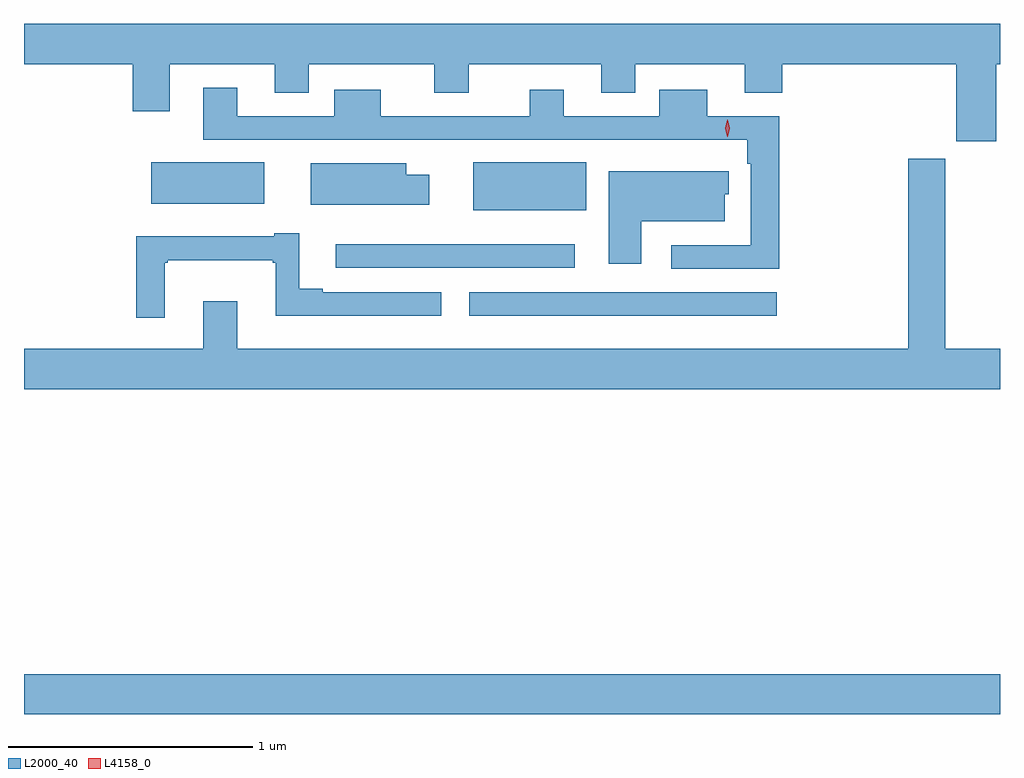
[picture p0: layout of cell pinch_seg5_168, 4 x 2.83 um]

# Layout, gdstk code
import gdstk
lib = gdstk.Library(unit=1e-6, precision=1e-09)
def R(c, l, rs):  # rectangles x0, y0, x1, y1
    for r in rs: c.add(gdstk.rectangle(r[:2], r[2:], *l))
def P(c, l, *ps):  # polygons
    for p in ps: c.add(gdstk.Polygon(p, *l))
L2000_40 = (2000, 40)
L4158_0 = (4158, 0)

pinch_seg5_168 = lib.new_cell('pinch_seg5_168')
R(pinch_seg5_168, L2000_40, [(1124.889,880.736,1128.889,880.9), (1126.713,882.368,1127.974,882.465), (1126.167,882.564,1127.146,882.661), (1126.73,882.8,1127.194,882.997), (1125.41,882.827,1125.874,882.997)])
P(pinch_seg5_168, L2000_40, [(1128.874,883.4),(1128.889,883.4),(1128.889,883.564),(1124.889,883.564),(1124.889,883.4),(1125.335,883.4),(1125.335,883.206),(1125.487,883.206),(1125.487,883.4),(1125.917,883.4),(1125.917,883.283),(1126.057,883.283),(1126.057,883.4),(1126.571,883.4),(1126.571,883.283),(1126.711,883.283),(1126.711,883.4),(1127.255,883.4),(1127.255,883.283),(1127.395,883.283),(1127.395,883.4),(1127.843,883.4),(1127.843,883.283),(1127.996,883.283),(1127.996,883.4),(1128.71,883.4),(1128.71,883.083),(1128.874,883.083)],
  [(1127.984,883.185),(1127.689,883.185),(1127.689,883.294),(1127.492,883.294),(1127.492,883.185),(1127.101,883.185),(1127.101,883.294),(1126.961,883.294),(1126.961,883.185),(1126.351,883.185),(1126.351,883.294),(1126.16,883.294),(1126.16,883.185),(1125.763,883.185),(1125.763,883.303),(1125.623,883.303),(1125.623,883.089),(1127.853,883.089),(1127.853,882.992),(1127.868,882.992),(1127.868,882.657),(1127.541,882.657),(1127.541,882.561),(1127.984,882.561)],
  [(1128.889,882.232),(1128.664,882.232),(1128.664,883.011),(1128.512,883.011),(1128.512,882.232),(1125.763,882.232),(1125.763,882.427),(1125.623,882.427),(1125.623,882.232),(1124.889,882.232),(1124.889,882.068),(1128.889,882.068)],
  [(1126.549,882.946),(1126.456,882.946),(1126.456,882.994),(1126.064,882.994),(1126.064,882.824),(1126.549,882.824)],
  [(1127.419,882.755),(1127.761,882.755),(1127.761,882.867),(1127.778,882.867),(1127.778,882.96),(1127.675,882.96),(1127.675,882.961),(1127.285,882.961),(1127.285,882.582),(1127.419,882.582)],
  [(1125.466,882.585),(1125.478,882.585),(1125.478,882.596),(1125.909,882.596),(1125.909,882.585),(1125.92,882.585),(1125.92,882.368),(1126.6,882.368),(1126.6,882.465),(1126.114,882.465),(1126.114,882.478),(1126.018,882.478),(1126.018,882.706),(1125.914,882.706),(1125.914,882.694),(1125.349,882.694),(1125.349,882.36),(1125.466,882.36)])
P(pinch_seg5_168, L4158_0, [(1127.772,883.102),(1127.772,883.102),(1127.762,883.137),(1127.772,883.172),(1127.772,883.172),(1127.773,883.172),(1127.782,883.137),(1127.773,883.102)])

lib.write_gds('pinch_seg5_168.gds')
